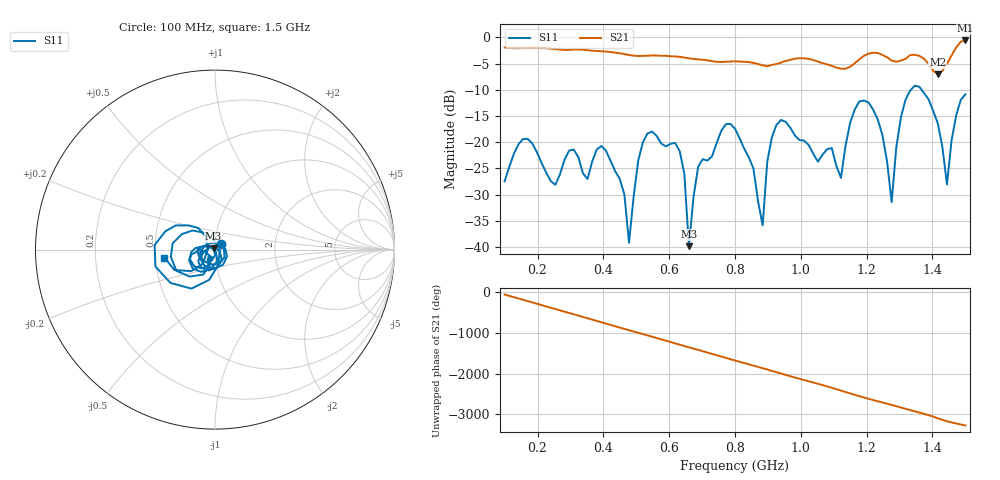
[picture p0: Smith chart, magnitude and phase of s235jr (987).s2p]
! NanoVNA-App
! Date: 2025-09-25 15:11:51
! Start: 100MHz Stop: 1,5GHz Points: 101
! S-Parameter data: F S11 S21 S12 S22
# Hz S RI R 50
!  Frequency  S11_Real  S11_Imag  S21_Real  S21_Imag  S12_Real  S12_Imag  S22_Real  S22_Imag
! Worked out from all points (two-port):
!   101 points, 100 MHz to 1.5 GHz, reference 50 ohm
!   highest |S21| = -0.60 dB at 1.5 GHz (marker M1); lowest = -7.0 dB at 1.416 GHz (marker M2)
!   |S21| within 3 dB of the highest: start of sweep to 601.5 MHz; 1.191 GHz to 1.255 GHz (64.79 MHz wide, 5.3 % of centre)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
!   lowest |S11| = -39.8 dB at 660 MHz (marker M3), VSWR 1.02, Z = 49.2 + j0.604 ohm
!   |S11| at or under -10 dB: start of sweep to 1.335 GHz; 1.367 GHz to end of sweep
!   S12 and S22 are empty: the file has one direction only
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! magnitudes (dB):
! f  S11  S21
! 100 MHz  -27.5  -2.0
! 156 MHz  -19.4  -2.0
! 338 MHz  -25.9  -2.4
! 408 MHz  -21.6  -2.7
! 478 MHz  -39.2  -3.4
! 520 MHz  -20.1  -3.5
! 576 MHz  -20.3  -3.5
! 632 MHz  -21.7  -3.7
! 660 MHz  -39.8  -4.0
! 688 MHz  -24.7  -4.2
! 800 MHz  -17.4  -4.6
! 884 MHz  -35.9  -5.3
! 926 MHz  -16.7  -5.1
! 1.038 GHz  -22.2  -4.3
! 1.122 GHz  -26.8  -6.0
! 1.164 GHz  -13.7  -5.0
! 1.206 GHz  -12.4  -3.1
! 1.276 GHz  -31.5  -4.4
! 1.332 GHz  -10.2  -3.4
! 1.416 GHz  -16.4  -7.0
! 1.444 GHz  -28.1  -5.1
! 1.5 GHz  -10.9  -0.6
